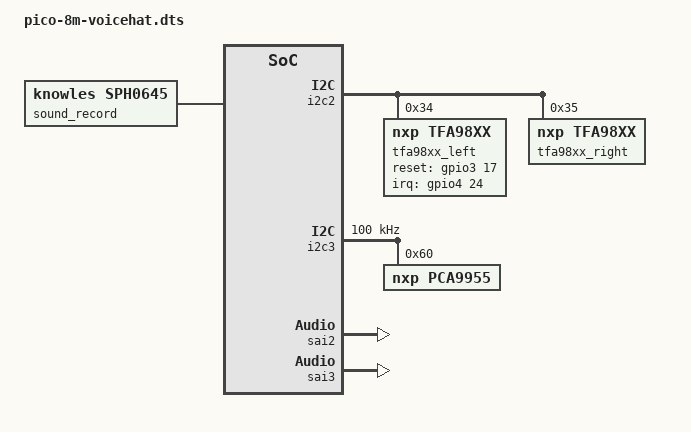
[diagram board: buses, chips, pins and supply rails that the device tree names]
/*
 * Copyright 2017 NXP
 *
 * This program is free software; you can redistribute it and/or
 * modify it under the terms of the GNU General Public License
 * as published by the Free Software Foundation; either version 2
 * of the License, or (at your option) any later version.
 *
 * This program is distributed in the hope that it will be useful,
 * but WITHOUT ANY WARRANTY; without even the implied warranty of
 * MERCHANTABILITY or FITNESS FOR A PARTICULAR PURPOSE.  See the
 * GNU General Public License for more details.
 */

#include "pico-8m.dts"

/ {
	/delete-node/ sound-hdmi;

	aliases {
		i2c0 = &i2c1;
		i2c1 = &i2c2;
		i2c2 = &i2c3;
		i2c3 = &i2c4;
    };

	sound_record: codec {
		compatible = "knowles,sph0645";
		
	};

	sound@1 {
		compatible = "nxp,imx-audio-tfa98xx", "nxp,imx-tfa98xx";
		nxp,model = "TFA9912";
		cpu-dai = <&sai2>;
		ssi-controller = <&sai2>;
		nxp,audio-codec = <&tfa98xx_left &tfa98xx_right>;
		clocks = <&clk IMX8MQ_AUDIO_PLL1>;
		nxp,audio-routing =
			"Speaker", "OUTL",
			"DMIC1", "Mic",
			"DMIC2", "Mic",
			"DMIC3", "Mic",
			"DMIC4", "Mic";
	};

	sound@2 {
		compatible = "nxp,imx-audio-sph0645", "nxp,imx-sph0645";
		nxp,model = "SPH0645";
		cpu-dai = <&sai3>;
		ssi-controller = <&sai3>;
		nxp,audio-codec = <&sound_record>;
		clocks = <&clk IMX8MQ_AUDIO_PLL1>;
	};
};

&iomuxc {
	pinctrl-names = "default";

	pico-8m  {

        pinctrl_sai2: sai2grp {
            fsl,pins = <
                MX8MQ_IOMUXC_SAI2_TXFS_SAI2_TX_SYNC 0xd6
                MX8MQ_IOMUXC_SAI2_TXC_SAI2_TX_BCLK  0xd6
                MX8MQ_IOMUXC_SAI2_MCLK_SAI2_MCLK    0xd6
                MX8MQ_IOMUXC_SAI2_TXD0_SAI2_TX_DATA0    0xd6
                MX8MQ_IOMUXC_NAND_WE_B_GPIO3_IO17    0xd6
            >;
        };

        pinctrl_sai3: sai3grp {
            fsl,pins = <
                MX8MQ_IOMUXC_SAI3_TXFS_SAI3_TX_SYNC 0xd6
                MX8MQ_IOMUXC_SAI3_TXC_SAI3_TX_BCLK  0xd6
                MX8MQ_IOMUXC_SAI3_RXD_SAI3_RX_DATA0 0xd6
            >;
        };
	};
};

&i2c2 {
	tfa98xx_left: tfa98xx_left@34 {
		compatible = "nxp,tfa98xx";
		reg = <0x34>;
		reset-gpio = <&gpio3 17 GPIO_ACTIVE_HIGH>; //GPIO_P31
		irq-gpio = <&gpio4 24 GPIO_ACTIVE_HIGH>; //GPIO_P35
		clocks = <&clk IMX8MQ_AUDIO_PLL1>;
	};
	tfa98xx_right: tfa98xx_right@35 {
		compatible = "nxp,tfa98xx";
		reg = <0x35>;
		clocks = <&clk IMX8MQ_AUDIO_PLL1>;
	};
};

&i2c3 { 

	clock-frequency = <100000>;

	pca9955: pca9955 {
	compatible = "nxp,pca9955";
	#address-cells = <1>;
	#size-cells = <0>;
	reg = <0x60>;

     blue@0 {
		label = "blue0";
		reg = <0>;
		linux,default-trigger = "none";
	 };
	 green@1 {
		label = "green0";
		reg = <1>;
		linux,default-trigger = "none";
	 };
	 red@2 {
		label = "red0";
		reg = <2>;
		linux,default-trigger = "none";
	 };

	 blue@3 {
		label = "blue1";
		reg = <3>;
		linux,default-trigger = "none";
	 };
	 green@4 {
		label = "green1";
		reg = <4>;
		linux,default-trigger = "none";
	 };
	 red@5 {
		label = "red1";
		reg = <5>;
		linux,default-trigger = "none";
	 };

     blue@6 {
        label = "blue2";
        reg = <6>;
        linux,default-trigger = "none";
     };
     green@7 {
        label = "green2";
        reg = <7>;
        linux,default-trigger = "none";
     };
     red@8 {
        label = "red2";
        reg = <8>;
        linux,default-trigger = "none";
     };

     blue@9 {
        label = "blue3";
        reg = <9>;
        linux,default-trigger = "none";
     };
     green@10 {
        label = "green3";
        reg = <10>;
        linux,default-trigger = "none";
     };
     red@11 {
        label = "red3";
        reg = <11>;
        linux,default-trigger = "none";
     };

	};
};

&sai2 {
	pinctrl-names = "default";
	pinctrl-0 = <&pinctrl_sai2>;
	assigned-clocks = <&clk IMX8MQ_CLK_SAI2_SRC>,
			<&clk IMX8MQ_CLK_SAI2_DIV>;
	assigned-clock-parents = <&clk IMX8MQ_AUDIO_PLL1_OUT>;
	assigned-clock-rates = <0>, <49152000>;
	status = "okay";
};

&sai3 {
	pinctrl-names = "default";
	pinctrl-0 = <&pinctrl_sai3>;
	assigned-clocks = <&clk IMX8MQ_CLK_SAI3_SRC>,
			<&clk IMX8MQ_CLK_SAI3_DIV>;
	assigned-clock-parents = <&clk IMX8MQ_AUDIO_PLL1_OUT>;
	assigned-clock-rates = <0>, <24576000>;
	status = "okay";
};

&dcss {
    status = "disabled";
};

&hdmi {
    status = "disabled";
};

&gpu {
    status = "disabled";
};

&vpu {
    status = "disabled";
};

